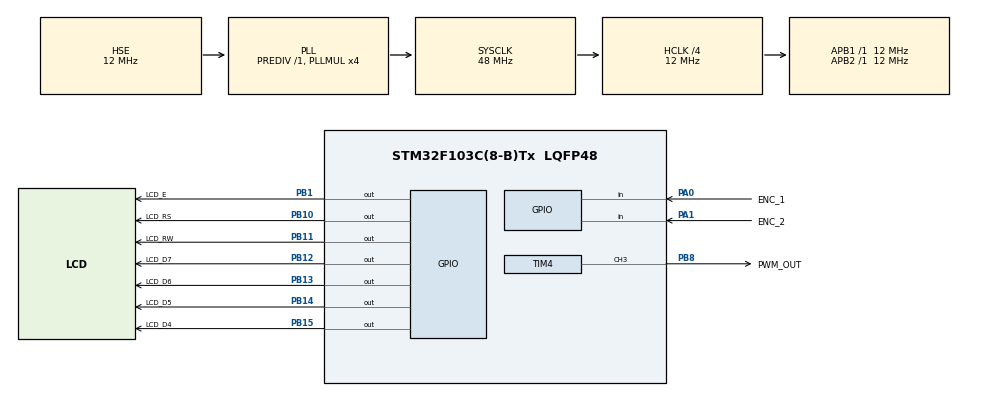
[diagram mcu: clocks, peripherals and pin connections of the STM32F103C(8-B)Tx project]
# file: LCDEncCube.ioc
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Mcu.Family=STM32F1
Mcu.Name=STM32F103C(8-B)Tx
Mcu.Package=LQFP48
NVIC.PriorityGroup=NVIC_PRIORITYGROUP_4
NVIC.TIM2_IRQn=true\:0\:0\:false\:false\:true
PA0-WKUP.GPIO_Label=ENC_1
PA0-WKUP.GPIO_PuPd=GPIO_PULLUP
PA0-WKUP.Signal=GPIO_Input
PA1.GPIO_Label=ENC_2
PA1.GPIO_PuPd=GPIO_PULLUP
PA1.Signal=GPIO_Input
PB1.GPIO_Label=LCD_E
PB1.GPIO_Speed=GPIO_SPEED_FREQ_HIGH
PB1.Signal=GPIO_Output
PB10.GPIO_Label=LCD_RS
PB10.GPIO_Speed=GPIO_SPEED_FREQ_HIGH
PB10.Signal=GPIO_Output
PB11.GPIO_Label=LCD_RW
PB11.GPIO_Speed=GPIO_SPEED_FREQ_HIGH
PB11.Signal=GPIO_Output
PB12.GPIO_Label=LCD_D7
PB12.GPIO_Speed=GPIO_SPEED_FREQ_HIGH
PB12.Signal=GPIO_Output
PB13.GPIO_Label=LCD_D6
PB13.GPIO_Speed=GPIO_SPEED_FREQ_HIGH
PB13.Signal=GPIO_Output
PB14.GPIO_Label=LCD_D5
PB14.GPIO_Speed=GPIO_SPEED_FREQ_HIGH
PB14.Signal=GPIO_Output
PB15.GPIO_Label=LCD_D4
PB15.GPIO_Speed=GPIO_SPEED_FREQ_HIGH
PB15.Signal=GPIO_Output
PB8.GPIO_Label=PWM_OUT
PB8.GPIO_Speed=GPIO_SPEED_FREQ_HIGH
PB8.Signal=S_TIM4_CH3
PD0-OSC_IN.Mode=HSE-External-Oscillator
PD0-OSC_IN.Signal=RCC_OSC_IN
PD1-OSC_OUT.Mode=HSE-External-Oscillator
PD1-OSC_OUT.Signal=RCC_OSC_OUT
ProjectManager.HeapSize=0x200
ProjectManager.StackSize=0x400
ProjectManager.TargetToolchain=MDK-ARM V5
RCC.AHBCLKDivider=RCC_SYSCLK_DIV4
RCC.AHBFreq_Value=12000000
RCC.APB1Freq_Value=12000000
RCC.APB1TimFreq_Value=12000000
RCC.APB2Freq_Value=12000000
RCC.APB2TimFreq_Value=12000000
RCC.EnbaleCSS=true
RCC.HCLKFreq_Value=12000000
RCC.HSE_VALUE=12000000
RCC.HSIState=RCC_HSI_ON
RCC.PLLMUL=RCC_PLL_MUL4
RCC.PLLSourceVirtual=RCC_PLLSOURCE_HSE
RCC.SYSCLKFreq_VALUE=48000000
RCC.SYSCLKSource=RCC_SYSCLKSOURCE_PLLCLK
RCC.USBFreq_Value=48000000
SH.S_TIM4_CH3.0=TIM4_CH3,PWM Generation3 CH3
TIM2.Period=499
TIM2.Prescaler=1199
TIM4.Channel-PWM\ Generation3\ CH3=TIM_CHANNEL_3
TIM4.Period=499
TIM4.Prescaler=23
TIM4.Pulse-PWM\ Generation3\ CH3=100
VP_SYS_VS_ND.Mode=No_Debug
VP_TIM2_VS_ClockSourceINT.Mode=Internal
VP_TIM4_VS_ClockSourceINT.Mode=Internal
board=LCDEncCube

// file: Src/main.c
/**
  ******************************************************************************
  * File Name          : main.c
  * Description        : Main program body
  ******************************************************************************
  *
  * COPYRIGHT(c) 2016 STMicroelectronics
  *
  * Redistribution and use in source and binary forms, with or without modification,
  * are permitted provided that the following conditions are met:
  *   1. Redistributions of source code must retain the above copyright notice,
  *      this list of conditions and the following disclaimer.
  *   2. Redistributions in binary form must reproduce the above copyright notice,
  *      this list of conditions and the following disclaimer in the documentation
  *      and/or other materials provided with the distribution.
  *   3. Neither the name of STMicroelectronics nor the names of its contributors
  *      may be used to endorse or promote products derived from this software
  *      without specific prior written permission.
  *
  * THIS SOFTWARE IS PROVIDED BY THE COPYRIGHT HOLDERS AND CONTRIBUTORS "AS IS"
  * AND ANY EXPRESS OR IMPLIED WARRANTIES, INCLUDING, BUT NOT LIMITED TO, THE
  * IMPLIED WARRANTIES OF MERCHANTABILITY AND FITNESS FOR A PARTICULAR PURPOSE ARE
  * DISCLAIMED. IN NO EVENT SHALL THE COPYRIGHT HOLDER OR CONTRIBUTORS BE LIABLE
  * FOR ANY DIRECT, INDIRECT, INCIDENTAL, SPECIAL, EXEMPLARY, OR CONSEQUENTIAL
  * DAMAGES (INCLUDING, BUT NOT LIMITED TO, PROCUREMENT OF SUBSTITUTE GOODS OR
  * SERVICES; LOSS OF USE, DATA, OR PROFITS; OR BUSINESS INTERRUPTION) HOWEVER
  * CAUSED AND ON ANY THEORY OF LIABILITY, WHETHER IN CONTRACT, STRICT LIABILITY,
  * OR TORT (INCLUDING NEGLIGENCE OR OTHERWISE) ARISING IN ANY WAY OUT OF THE USE
  * OF THIS SOFTWARE, EVEN IF ADVISED OF THE POSSIBILITY OF SUCH DAMAGE.
  *
  ******************************************************************************
  */
#include "stm32f1xx_hal.h"

/* USER CODE BEGIN Includes */

#include "encoder.h"
#include "hd44780.h"

/* USER CODE END Includes */

TIM_HandleTypeDef htim2;
TIM_HandleTypeDef htim4;

/* USER CODE BEGIN PV */
/* Private variables ---------------------------------------------------------*/

  int Vol = 249;
  int MaxVol = 500;
  int MinVol = 0;

/* USER CODE END PV */

void SystemClock_Config(void);
static void MX_GPIO_Init(void);
static void MX_TIM2_Init(void);
static void MX_TIM4_Init(void);

/* USER CODE BEGIN PFP */
/* Private function prototypes -----------------------------------------------*/

void lcd_us_delay(volatile uint32_t);

/* USER CODE END PFP */

int main(void)
{

  /* MCU Configuration----------------------------------------------------------*/

  /* Reset of all peripherals, Initializes the Flash interface and the Systick. */
  HAL_Init();

  /* Configure the system clock */
  SystemClock_Config();

  /* Initialize all configured peripherals */
  MX_GPIO_Init();
  MX_TIM2_Init();
  MX_TIM4_Init();

  /* USER CODE BEGIN 2 */

  HAL_TIM_PWM_Start (	&htim4, TIM_CHANNEL_3);
  HAL_TIM_Base_Start_IT(&htim2);

  /* USER CODE END 2 */

  /* Infinite loop */
  /* USER CODE BEGIN WHILE */

  while (1)
  {
		if (Vol > MaxVol) Vol = MaxVol;
		if (Vol < MinVol) Vol = MinVol;

		__HAL_TIM_SET_COMPARE(&htim4, TIM_CHANNEL_3,Vol);

  /* USER CODE END WHILE */

  }

}

/** System Clock Configuration
*/
void SystemClock_Config(void)
{

  RCC_OscInitTypeDef RCC_OscInitStruct;
  RCC_ClkInitTypeDef RCC_ClkInitStruct;

  RCC_OscInitStruct.OscillatorType = RCC_OSCILLATORTYPE_HSE;
  RCC_OscInitStruct.HSEState = RCC_HSE_ON;
  RCC_OscInitStruct.HSEPredivValue = RCC_HSE_PREDIV_DIV1;
  RCC_OscInitStruct.PLL.PLLState = RCC_PLL_ON;
  RCC_OscInitStruct.PLL.PLLSource = RCC_PLLSOURCE_HSE;
  RCC_OscInitStruct.PLL.PLLMUL = RCC_PLL_MUL4;
  HAL_RCC_OscConfig(&RCC_OscInitStruct);

  RCC_ClkInitStruct.ClockType = RCC_CLOCKTYPE_HCLK|RCC_CLOCKTYPE_SYSCLK;
  RCC_ClkInitStruct.SYSCLKSource = RCC_SYSCLKSOURCE_PLLCLK;
  RCC_ClkInitStruct.AHBCLKDivider = RCC_SYSCLK_DIV4;
  RCC_ClkInitStruct.APB1CLKDivider = RCC_HCLK_DIV1;
  RCC_ClkInitStruct.APB2CLKDivider = RCC_HCLK_DIV1;
  HAL_RCC_ClockConfig(&RCC_ClkInitStruct, FLASH_LATENCY_0);

  HAL_RCC_EnableCSS();

  HAL_SYSTICK_Config(HAL_RCC_GetHCLKFreq()/1000);

  HAL_SYSTICK_CLKSourceConfig(SYSTICK_CLKSOURCE_HCLK);

  /* SysTick_IRQn interrupt configuration */
  HAL_NVIC_SetPriority(SysTick_IRQn, 0, 0);
}

/* TIM2 init function */
void MX_TIM2_Init(void)
{

  TIM_ClockConfigTypeDef sClockSourceConfig;
  TIM_MasterConfigTypeDef sMasterConfig;

  htim2.Instance = TIM2;
  htim2.Init.Prescaler = 1199;
  htim2.Init.CounterMode = TIM_COUNTERMODE_UP;
  htim2.Init.Period = 499;
  htim2.Init.ClockDivision = TIM_CLOCKDIVISION_DIV1;
  HAL_TIM_Base_Init(&htim2);

  sClockSourceConfig.ClockSource = TIM_CLOCKSOURCE_INTERNAL;
  HAL_TIM_ConfigClockSource(&htim2, &sClockSourceConfig);

  sMasterConfig.MasterOutputTrigger = TIM_TRGO_RESET;
  sMasterConfig.MasterSlaveMode = TIM_MASTERSLAVEMODE_DISABLE;
  HAL_TIMEx_MasterConfigSynchronization(&htim2, &sMasterConfig);

}

/* TIM4 init function */
void MX_TIM4_Init(void)
{

  TIM_ClockConfigTypeDef sClockSourceConfig;
  TIM_MasterConfigTypeDef sMasterConfig;
  TIM_OC_InitTypeDef sConfigOC;

  htim4.Instance = TIM4;
  htim4.Init.Prescaler = 23;
  htim4.Init.CounterMode = TIM_COUNTERMODE_UP;
  htim4.Init.Period = 499;
  htim4.Init.ClockDivision = TIM_CLOCKDIVISION_DIV1;
  HAL_TIM_Base_Init(&htim4);

  sClockSourceConfig.ClockSource = TIM_CLOCKSOURCE_INTERNAL;
  HAL_TIM_ConfigClockSource(&htim4, &sClockSourceConfig);

  HAL_TIM_PWM_Init(&htim4);

  sMasterConfig.MasterOutputTrigger = TIM_TRGO_RESET;
  sMasterConfig.MasterSlaveMode = TIM_MASTERSLAVEMODE_DISABLE;
  HAL_TIMEx_MasterConfigSynchronization(&htim4, &sMasterConfig);

  sConfigOC.OCMode = TIM_OCMODE_PWM1;
  sConfigOC.Pulse = 100;
  sConfigOC.OCPolarity = TIM_OCPOLARITY_HIGH;
  sConfigOC.OCFastMode = TIM_OCFAST_DISABLE;
  HAL_TIM_PWM_ConfigChannel(&htim4, &sConfigOC, TIM_CHANNEL_3);

}

/** Configure pins as
        * Analog
        * Input
        * Output
        * EVENT_OUT
        * EXTI
*/
void MX_GPIO_Init(void)
{

  GPIO_InitTypeDef GPIO_InitStruct;

  /* GPIO Ports Clock Enable */
  __GPIOD_CLK_ENABLE();
  __GPIOA_CLK_ENABLE();
  __GPIOB_CLK_ENABLE();

  /*Configure GPIO pins : ENC_1_Pin ENC_2_Pin */
  GPIO_InitStruct.Pin = ENC_1_Pin|ENC_2_Pin;
  GPIO_InitStruct.Mode = GPIO_MODE_INPUT;
  GPIO_InitStruct.Pull = GPIO_PULLUP;
  HAL_GPIO_Init(GPIOA, &GPIO_InitStruct);

  /*Configure GPIO pins : LCD_E_Pin LCD_RS_Pin LCD_RW_Pin LCD_D7_Pin
                           LCD_D6_Pin LCD_D5_Pin LCD_D4_Pin */
  GPIO_InitStruct.Pin = LCD_E_Pin|LCD_RS_Pin|LCD_RW_Pin|LCD_D7_Pin
                          |LCD_D6_Pin|LCD_D5_Pin|LCD_D4_Pin;
  GPIO_InitStruct.Mode = GPIO_MODE_OUTPUT_PP;
  GPIO_InitStruct.Speed = GPIO_SPEED_HIGH;
  HAL_GPIO_Init(GPIOB, &GPIO_InitStruct);

}

/* USER CODE BEGIN 4 */

void lcd_us_delay(volatile uint32_t us)
{
	/* Ñonversion to us */
	us *= MCU_FREQ_VALUE;
	/* Wait */
	while (us > 0u)
	{
		us--;
	}
}

/* USER CODE END 4 */

/************************ (C) COPYRIGHT STMicroelectronics *****END OF FILE****/
